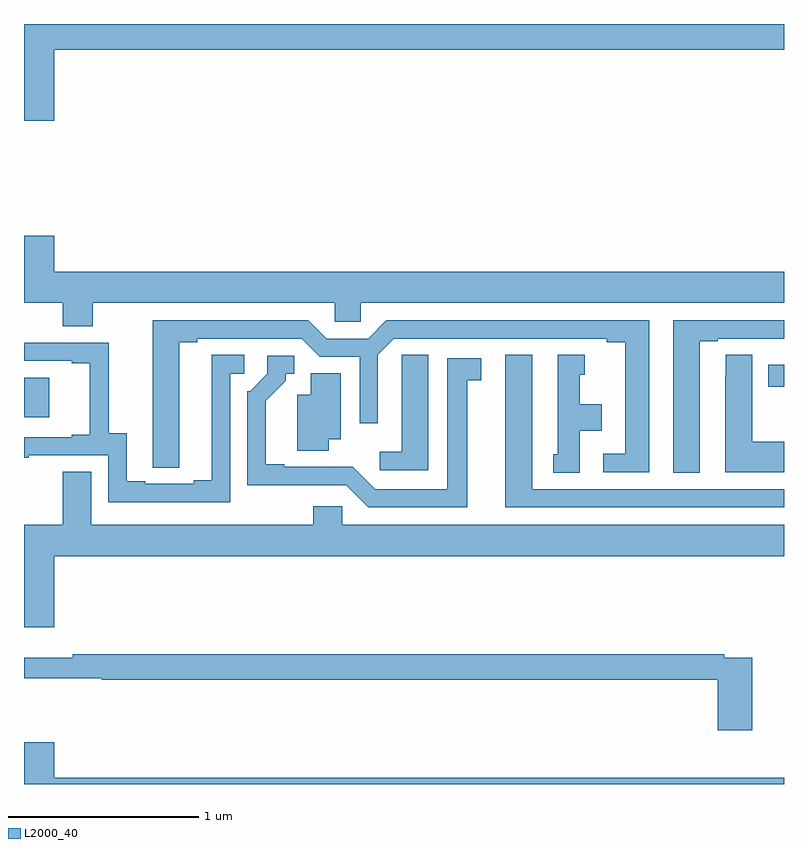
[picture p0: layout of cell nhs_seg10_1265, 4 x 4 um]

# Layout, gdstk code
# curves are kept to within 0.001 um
import gdstk
lib = gdstk.Library(unit=1e-6, precision=1e-09)
def R(c, l, rs):  # rectangles x0, y0, x1, y1
    for r in rs: c.add(gdstk.rectangle(r[:2], r[2:], *l))
def P(c, l, *ps):  # polygons
    for p in ps: c.add(gdstk.Polygon(p, *l))
L2000_40 = (2000, 40)

nhs_seg10_1265 = lib.new_cell('nhs_seg10_1265')
R(nhs_seg10_1265, L2000_40, [(177,1250.429,177.133,1250.638), (180.917,1250.59,181,1250.706)])
P(nhs_seg10_1265, L2000_40, [(177.16,1252.364),(181,1252.364),(181,1252.5),(177,1252.5),(177,1251.99),(177.16,1251.99)],
  [(177.363,1251.032),(178.635,1251.032),(178.635,1250.934),(178.773,1250.934),(178.773,1251.032),(181,1251.032),(181,1251.196),(177.16,1251.196),(177.16,1251.385),(177,1251.385),(177,1251.032),(177.203,1251.032),(177.203,1250.908),(177.363,1250.908)],
  [(180.292,1250.94),(178.907,1250.94),(178.811,1250.844),(178.593,1250.844),(178.497,1250.94),(177.677,1250.94),(177.678,1250.164),(177.817,1250.164),(177.817,1250.824),(177.913,1250.824),(177.913,1250.844),(178.461,1250.844),(178.557,1250.748),(178.767,1250.748),(178.767,1250.4),(178.863,1250.4),(178.863,1250.76),(178.947,1250.844),(180.068,1250.844),(180.068,1250.824),(180.164,1250.824),(180.164,1250.238),(180.048,1250.238),(180.048,1250.142),(180.292,1250.142)],
  [(180.556,1250.829),(180.652,1250.829),(180.652,1250.844),(180.928,1250.844),(180.928,1250.843),(181,1250.843),(181,1250.94),(180.416,1250.94),(180.416,1250.137),(180.556,1250.137)],
  [(178.086,1250.658),(178.159,1250.658),(178.159,1250.759),(177.989,1250.759),(177.989,1250.099),(177.893,1250.099),(177.893,1250.079),(177.637,1250.079),(177.637,1250.094),(177.541,1250.094),(177.541,1250.345),(177.447,1250.345),(177.447,1250.823),(177,1250.823),(177,1250.727),(177.251,1250.727),(177.251,1250.715),(177.347,1250.715),(177.347,1250.338),(177.251,1250.338),(177.251,1250.325),(177,1250.325),(177,1250.217),(177.025,1250.217),(177.025,1250.229),(177.444,1250.229),(177.444,1249.983),(178.086,1249.983)],
  [(179.128,1250.759),(178.989,1250.759),(178.989,1250.651),(178.988,1250.651),(178.988,1250.248),(178.872,1250.248),(178.872,1250.151),(179.128,1250.151)],
  [(181,1250.301),(180.832,1250.301),(180.832,1250.759),(180.693,1250.759),(180.693,1250.651),(180.692,1250.651),(180.692,1250.141),(181,1250.141)],
  [(179.926,1250.36),(180.04,1250.36),(180.04,1250.5),(179.926,1250.5),(179.926,1250.655),(179.95,1250.655),(179.95,1250.758),(179.81,1250.758),(179.81,1250.235),(179.786,1250.235),(179.786,1250.137),(179.926,1250.137)],
  [(181,1250.052),(179.674,1250.052),(179.674,1250.758),(179.534,1250.758),(179.534,1249.956),(181,1249.956)],
  [(179.332,1250.626),(179.407,1250.626),(179.407,1250.742),(179.228,1250.742),(179.228,1250.052),(178.848,1250.052),(178.73,1250.17),(178.369,1250.169),(178.369,1250.182),(178.273,1250.182),(178.273,1250.518),(178.378,1250.623),(178.378,1250.658),(178.423,1250.658),(178.423,1250.754),(178.281,1250.754),(178.281,1250.658),(178.191,1250.568),(178.176,1250.568),(178.176,1250.072),(178.695,1250.073),(178.812,1249.956),(179.332,1249.956)],
  [(178.603,1250.315),(178.666,1250.315),(178.666,1250.663),(178.508,1250.663),(178.508,1250.548),(178.439,1250.548),(178.439,1250.254),(178.603,1250.254)],
  [(177.16,1249.7),(181,1249.7),(181,1249.864),(178.674,1249.864),(178.674,1249.962),(178.523,1249.962),(178.523,1249.864),(177.355,1249.864),(177.355,1250.144),(177.203,1250.144),(177.203,1249.864),(177,1249.864),(177,1249.326),(177.16,1249.326)],
  [(180.833,1249.164),(180.686,1249.164),(180.686,1249.184),(177.256,1249.184),(177.256,1249.165),(177,1249.165),(177,1249.056),(177.41,1249.056),(177.41,1249.048),(180.65,1249.048),(180.65,1248.783),(180.833,1248.783)],
  [(181,1248.532),(177.16,1248.532),(177.16,1248.721),(177,1248.721),(177,1248.5),(181,1248.5)])

lib.write_gds('nhs_seg10_1265.gds')
